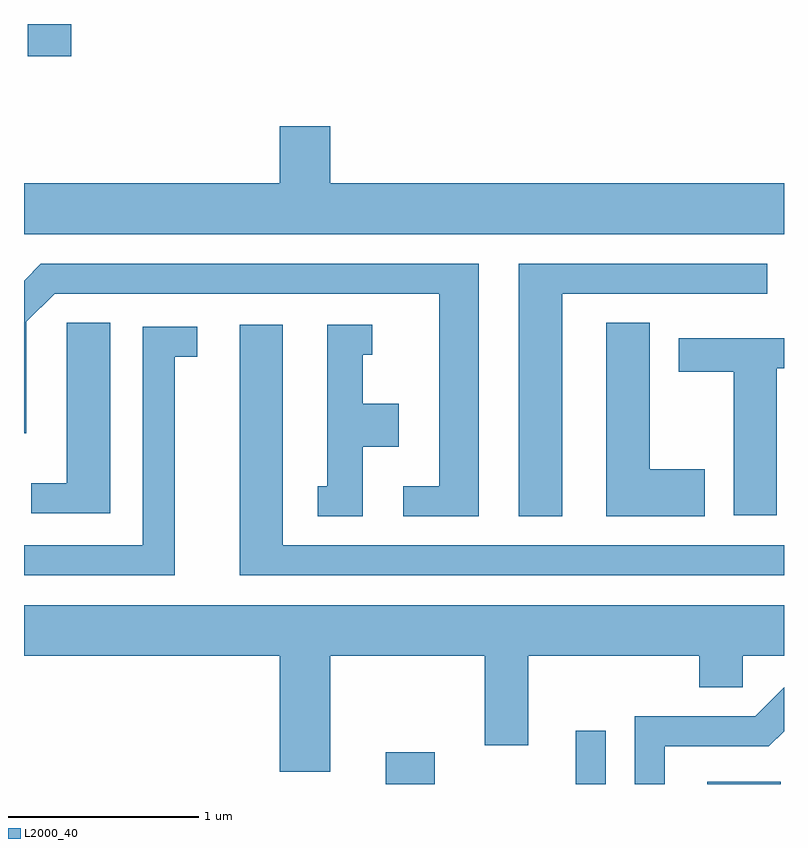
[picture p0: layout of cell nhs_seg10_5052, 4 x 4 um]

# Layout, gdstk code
import gdstk
lib = gdstk.Library(unit=1e-6, precision=1e-09)
def R(c, l, rs):  # rectangles x0, y0, x1, y1
    for r in rs: c.add(gdstk.rectangle(r[:2], r[2:], *l))
def P(c, l, *ps):  # polygons
    for p in ps: c.add(gdstk.Polygon(p, *l))
L2000_40 = (2000, 40)

nhs_seg10_5052 = lib.new_cell('nhs_seg10_5052')
R(nhs_seg10_5052, L2000_40, [(335.516,2166.522,335.774,2166.689), (336.516,2166.522,336.674,2166.803), (337.206,2166.522,337.594,2166.534), (333.631,2170.351,333.859,2170.522)])
P(nhs_seg10_5052, L2000_40, [(337.611,2169.684),(335.224,2169.684),(335.224,2169.984),(334.956,2169.984),(334.956,2169.684),(333.611,2169.684),(333.611,2169.416),(337.611,2169.416)],
  [(336.444,2169.101),(337.523,2169.101),(337.523,2169.259),(336.216,2169.259),(336.216,2167.931),(336.444,2167.931)],
  [(336.004,2169.259),(333.699,2169.259),(333.611,2169.171),(333.611,2168.368),(333.624,2168.368),(333.624,2168.954),(333.772,2169.101),(335.796,2169.101),(335.796,2168.089),(335.608,2168.089),(335.608,2167.931),(336.004,2167.931)],
  [(337.194,2168.179),(336.904,2168.179),(336.904,2168.949),(336.676,2168.949),(336.676,2167.931),(337.194,2167.931)],
  [(334.064,2168.949),(333.836,2168.949),(333.836,2168.104),(333.648,2168.104),(333.648,2167.946),(334.064,2167.946)],
  [(337.611,2167.779),(334.974,2167.779),(334.974,2168.939),(334.746,2168.939),(334.746,2167.621),(337.611,2167.621)],
  [(335.394,2168.296),(335.584,2168.296),(335.584,2168.524),(335.394,2168.524),(335.394,2168.781),(335.443,2168.781),(335.443,2168.939),(335.206,2168.939),(335.206,2168.089),(335.158,2168.089),(335.158,2167.931),(335.394,2167.931)],
  [(334.404,2168.771),(334.523,2168.771),(334.523,2168.929),(334.236,2168.929),(334.236,2167.779),(333.611,2167.779),(333.611,2167.621),(334.404,2167.621)],
  [(337.574,2168.711),(337.611,2168.711),(337.611,2168.869),(337.056,2168.869),(337.056,2168.691),(337.346,2168.691),(337.346,2167.936),(337.574,2167.936)],
  [(335.224,2167.196),(336.036,2167.196),(336.036,2166.726),(336.264,2166.726),(336.264,2167.196),(337.166,2167.196),(337.166,2167.031),(337.394,2167.031),(337.394,2167.196),(337.611,2167.196),(337.611,2167.464),(333.611,2167.464),(333.611,2167.196),(334.956,2167.196),(334.956,2166.586),(335.224,2166.586)],
  [(336.984,2166.721),(337.532,2166.721),(337.611,2166.8),(337.611,2167.031),(337.459,2166.879),(336.826,2166.879),(336.826,2166.522),(336.984,2166.522)])

lib.write_gds('nhs_seg10_5052.gds')
